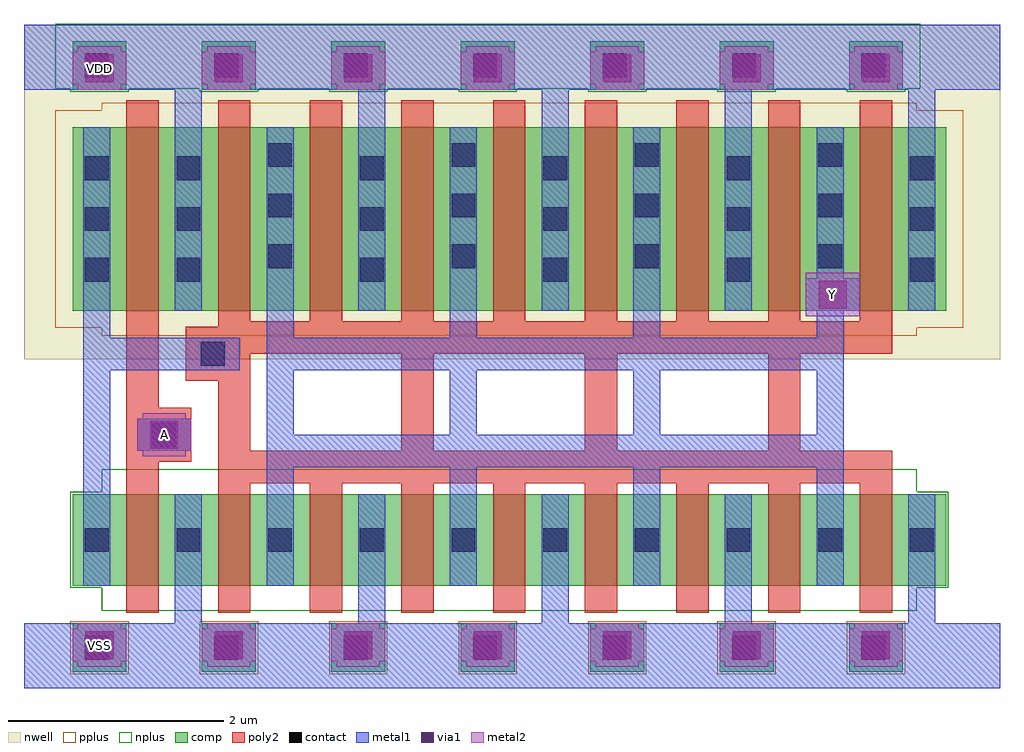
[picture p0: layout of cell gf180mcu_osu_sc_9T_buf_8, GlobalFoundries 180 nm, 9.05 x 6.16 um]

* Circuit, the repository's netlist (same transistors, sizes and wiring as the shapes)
* Copyright 2022 Google LLC
*
* Licensed under the Apache License, Version 2.0 (the "License");
* you may not use this file except in compliance with the License.
* You may obtain a copy of the License at
*
*      http://www.apache.org/licenses/LICENSE-2.0
*
* Unless required by applicable law or agreed to in writing, software
* distributed under the License is distributed on an "AS IS" BASIS,
* WITHOUT WARRANTIES OR CONDITIONS OF ANY KIND, either express or implied.
* See the License for the specific language governing permissions and
* limitations under the License.

.option scale=0.05u

.subckt gf180mcu_osu_sc_9T_buf_8 A Y
X0 Y a_9_19 VDD VDD pmos_3p3 w=34 l=6
X1 Y a_9_19 VDD VDD pmos_3p3 w=34 l=6
X2 Y a_9_19 VSS VSS nmos_3p3 w=17 l=6
X3 VSS a_9_19 Y VSS nmos_3p3 w=17 l=6
X4 VSS a_9_19 Y VSS nmos_3p3 w=17 l=6
X5 Y a_9_19 VDD VDD pmos_3p3 w=34 l=6
X6 VSS A a_9_19 VSS nmos_3p3 w=17 l=6
X7 VDD a_9_19 Y VDD pmos_3p3 w=34 l=6
X8 VDD a_9_19 Y VDD pmos_3p3 w=34 l=6
X9 VDD A a_9_19 VDD pmos_3p3 w=34 l=6
X10 VSS a_9_19 Y VSS nmos_3p3 w=17 l=6
X11 VSS a_9_19 Y VSS nmos_3p3 w=17 l=6
X12 Y a_9_19 VSS VSS nmos_3p3 w=17 l=6
X13 VDD a_9_19 Y VDD pmos_3p3 w=34 l=6
X14 VDD a_9_19 Y VDD pmos_3p3 w=34 l=6
X15 Y a_9_19 VSS VSS nmos_3p3 w=17 l=6
X16 Y a_9_19 VSS VSS nmos_3p3 w=17 l=6
X17 Y a_9_19 VDD VDD pmos_3p3 w=34 l=6
.ends

** hspice subcircuit dictionary

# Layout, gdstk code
import gdstk
lib = gdstk.Library(unit=1e-6, precision=1e-09)
def R(c, l, rs):  # rectangles x0, y0, x1, y1
    for r in rs: c.add(gdstk.rectangle(r[:2], r[2:], *l))
def A(c, l, x, y, w, h, nx, ny, dx, dy):  # array of equal rectangles
    R(c, l, [(x+i*dx, y+j*dy, x+i*dx+w, y+j*dy+h) for i in range(nx) for j in range(ny)])
nwell = (21, 0)
comp = (22, 0)
poly2 = (30, 0)
pplus = (31, 0)
nplus = (32, 0)
contact = (33, 0)
metal1 = (34, 0)
via1 = (35, 0)
metal2 = (36, 0)

gf180mcu_osu_sc_9t_buf_8 = lib.new_cell('gf180mcu_osu_sc_9T_buf_8')
R(gf180mcu_osu_sc_9t_buf_8, nwell, [(0,3.05,9.05,6.15)])
A(gf180mcu_osu_sc_9t_buf_8, comp, 0.45, 0.15, 0.5, 0.45, 7, 2, 1.2, 5.4)
R(gf180mcu_osu_sc_9t_buf_8, comp, [(0.45,0.95,8.55,1.8), (0.45,3.5,8.55,5.2)])
A(gf180mcu_osu_sc_9t_buf_8, poly2, 1.8, 0.7, 0.3, 1.2, 8, 1, 0.85, 0)
A(gf180mcu_osu_sc_9t_buf_8, poly2, 3.5, 2.2, 0.3, 0.9, 3, 1, 1.7, 0)
A(gf180mcu_osu_sc_9t_buf_8, poly2, 1.8, 3.4, 0.3, 2.05, 8, 1, 0.85, 0)
R(gf180mcu_osu_sc_9t_buf_8, poly2, [(0.95,0.7,1.25,2.1), (1.8,1.9,8.05,2.2), (0.95,2.1,1.55,2.6), (1.8,2.2,2.1,2.85), (0.95,2.6,1.25,5.45), (1.5,2.85,2.1,3.1), (1.5,3.1,8.05,3.35), (1.8,3.35,8.05,3.4)])
A(gf180mcu_osu_sc_9t_buf_8, pplus, 0.43, 0.13, 0.54, 0.49, 7, 1, 1.2, 0)
R(gf180mcu_osu_sc_9t_buf_8, pplus, [(0.72,3.27,8.28,3.34), (0.29,3.34,8.71,5.36), (0.72,5.36,8.28,5.43)])
A(gf180mcu_osu_sc_9t_buf_8, nplus, 0.43, 5.53, 0.54, 0.03, 7, 1, 1.2, 0)
R(gf180mcu_osu_sc_9t_buf_8, nplus, [(0.72,0.72,8.28,0.93), (0.43,0.93,8.57,1.82), (0.72,1.82,8.28,2.03), (0.29,5.56,8.31,6.16)])
A(gf180mcu_osu_sc_9t_buf_8, contact, 0.565, 0.265, 0.22, 0.22, 7, 2, 1.2, 5.4)
A(gf180mcu_osu_sc_9t_buf_8, contact, 0.565, 1.265, 0.22, 0.22, 10, 1, 0.85, 0)
A(gf180mcu_osu_sc_9t_buf_8, contact, 0.565, 3.77, 0.22, 0.22, 1, 3, 0, 0.47)
A(gf180mcu_osu_sc_9t_buf_8, contact, 1.415, 3.77, 0.22, 0.22, 5, 3, 1.7, 0.47)
A(gf180mcu_osu_sc_9t_buf_8, contact, 2.265, 3.895, 0.22, 0.22, 4, 3, 1.7, 0.47)
R(gf180mcu_osu_sc_9t_buf_8, contact, [(1.19,2.24,1.41,2.46), (1.64,2.99,1.86,3.21)])
A(gf180mcu_osu_sc_9t_buf_8, metal1, 1.4, 0.6, 0.25, 1.2, 5, 1, 1.7, 0)
A(gf180mcu_osu_sc_9t_buf_8, metal1, 2.25, 0.95, 0.25, 1.1, 4, 1, 1.7, 0)
A(gf180mcu_osu_sc_9t_buf_8, metal1, 2.25, 2.35, 0.25, 0.6, 4, 1, 1.7, 0)
A(gf180mcu_osu_sc_9t_buf_8, metal1, 0.55, 3.25, 0.25, 1.95, 4, 1, 1.7, 0)
A(gf180mcu_osu_sc_9t_buf_8, metal1, 1.4, 3.5, 0.25, 2.05, 5, 1, 1.7, 0)
R(gf180mcu_osu_sc_9t_buf_8, metal1, [(0,0,9.05,0.6), (0.55,0.95,0.8,2.95), (2.25,2.05,7.6,2.35), (1.05,2.2,1.55,2.5), (0.55,2.95,2,3.25), (2.25,2.95,7.6,3.25), (7.35,3.25,7.6,3.5), (7.25,3.5,7.75,3.8), (7.35,3.8,7.6,5.2), (0,5.55,9.05,6.15)])
A(gf180mcu_osu_sc_9t_buf_8, via1, 0.57, 0.27, 0.26, 0.26, 7, 2, 1.2, 5.35)
R(gf180mcu_osu_sc_9t_buf_8, via1, [(1.17,2.22,1.43,2.48), (7.37,3.52,7.63,3.78)])
A(gf180mcu_osu_sc_9t_buf_8, metal2, 0.5, 0.2, 0.4, 0.05, 7, 2, 1.2, 0.35)
A(gf180mcu_osu_sc_9t_buf_8, metal2, 0.45, 0.25, 0.5, 0.3, 7, 2, 1.2, 5.35)
A(gf180mcu_osu_sc_9t_buf_8, metal2, 0.5, 5.55, 0.4, 0.05, 7, 2, 1.2, 0.35)
R(gf180mcu_osu_sc_9t_buf_8, metal2, [(1.1,2.15,1.5,2.2), (1.05,2.2,1.55,2.5), (1.1,2.5,1.5,2.55), (7.25,3.45,7.75,3.85)])
gf180mcu_osu_sc_9t_buf_8.add(gdstk.Label('VDD', (0.7,5.75), layer=36, texttype=0))
gf180mcu_osu_sc_9t_buf_8.add(gdstk.Label('VSS', (0.7,0.4), layer=36, texttype=0))
gf180mcu_osu_sc_9t_buf_8.add(gdstk.Label('A', (1.3,2.35), layer=36, texttype=10))
gf180mcu_osu_sc_9t_buf_8.add(gdstk.Label('Y', (7.5,3.65), layer=36, texttype=10))

lib.write_gds('gf180mcu_osu_sc_9T_buf_8.gds')
